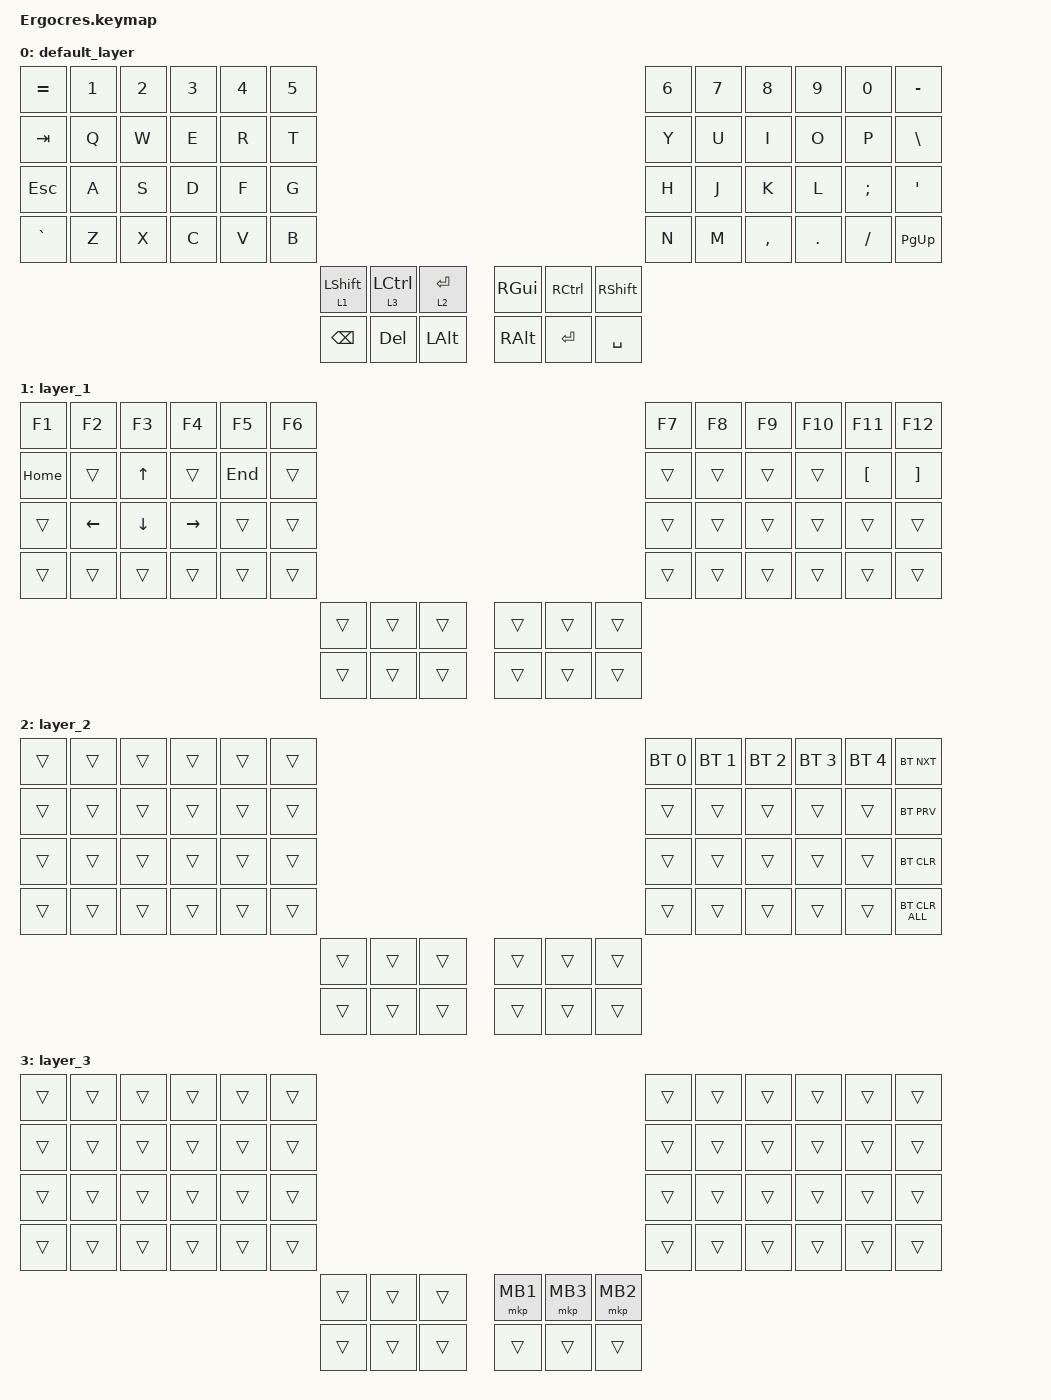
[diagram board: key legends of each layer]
#include <behaviors.dtsi>
#include <dt-bindings/zmk/bt.h>
#include <dt-bindings/zmk/keys.h>
#include <dt-bindings/zmk/pointing.h>

&mt {
    flavor = "balanced";
    quick-tap-ms = <0>;
};

/ {
    combos { compatible = "zmk,combos"; };

    macros {
        to_layer_0: to_layer_0 {
            compatible = "zmk,behavior-macro-one-param";
            #binding-cells = <1>;
            bindings = <&to 0 &macro_param_1to1 &kp MACRO_PLACEHOLDER>;
            label = "TO_LAYER_0";
        };
    };

    lt_to_layer_0: lt_to_layer_0 {
        compatible = "zmk,behavior-hold-tap";
        label = "LAYER_TAP_TO_0";
        bindings = <&mo>, <&to_layer_0>;

        #binding-cells = <2>;
        tapping-term-ms = <200>;
    };
};

/ {
    behaviors {
    };

    keymap {
        compatible = "zmk,keymap";

        default_layer {
            bindings = <
&kp EQUAL         &kp N1              &kp N2       &kp N3    &kp N4     &kp N5             &kp N6    &kp N7   &kp N8     &kp N9    &kp N0    &kp MINUS
&kp TAB           &kp Q               &kp W        &kp E     &kp R      &kp T              &kp Y     &kp U    &kp I      &kp O     &kp P     &kp BSLH
&kp ESC           &kp A               &kp S        &kp D     &kp F      &kp G              &kp H     &kp J    &kp K      &kp L     &kp SEMI  &kp SQT
&kp GRAVE         &kp Z               &kp X        &kp C     &kp V      &kp B              &kp N     &kp M    &kp COMMA  &kp DOT   &kp FSLH  &kp PG_UP
&lt 1 LEFT_SHIFT  &lt 3 LEFT_CONTROL  &lt 2 ENTER  &kp RGUI  &kp RCTRL  &kp RIGHT_SHIFT    &kp BSPC  &kp DEL  &kp LALT   &kp RALT  &kp RET   &kp SPACE
            >;
        };

        layer_1 {
            bindings = <
&kp F1    &kp F2          &kp F3          &kp F4           &kp F5   &kp F6    &kp F7  &kp F8  &kp F9  &kp F10  &kp F11   &kp F12
&kp HOME  &trans          &kp UP_ARROW    &trans           &kp END  &trans    &trans  &trans  &trans  &trans   &kp LBKT  &kp RBKT
&trans    &kp LEFT_ARROW  &kp DOWN_ARROW  &kp RIGHT_ARROW  &trans   &trans    &trans  &trans  &trans  &trans   &trans    &trans
&trans    &trans          &trans          &trans           &trans   &trans    &trans  &trans  &trans  &trans   &trans    &trans
&trans    &trans          &trans          &trans           &trans   &trans    &trans  &trans  &trans  &trans   &trans    &trans
            >;
        };

        layer_2 {
            bindings = <
&trans  &trans  &trans  &trans  &trans  &trans    &bt BT_SEL 0  &bt BT_SEL 1  &bt BT_SEL 2  &bt BT_SEL 3  &bt BT_SEL 4  &bt BT_NXT
&trans  &trans  &trans  &trans  &trans  &trans    &trans        &trans        &trans        &trans        &trans        &bt BT_PRV
&trans  &trans  &trans  &trans  &trans  &trans    &trans        &trans        &trans        &trans        &trans        &bt BT_CLR
&trans  &trans  &trans  &trans  &trans  &trans    &trans        &trans        &trans        &trans        &trans        &bt BT_CLR_ALL
&trans  &trans  &trans  &trans  &trans  &trans    &trans        &trans        &trans        &trans        &trans        &trans
            >;
        };

        layer_3 {
            bindings = <
&trans  &trans  &trans  &trans    &trans    &trans      &trans  &trans  &trans  &trans  &trans  &trans
&trans  &trans  &trans  &trans    &trans    &trans      &trans  &trans  &trans  &trans  &trans  &trans
&trans  &trans  &trans  &trans    &trans    &trans      &trans  &trans  &trans  &trans  &trans  &trans
&trans  &trans  &trans  &trans    &trans    &trans      &trans  &trans  &trans  &trans  &trans  &trans
&trans  &trans  &trans  &mkp MB1  &mkp MB3  &mkp MB2    &trans  &trans  &trans  &trans  &trans  &trans
            >;
        };
    };
};
